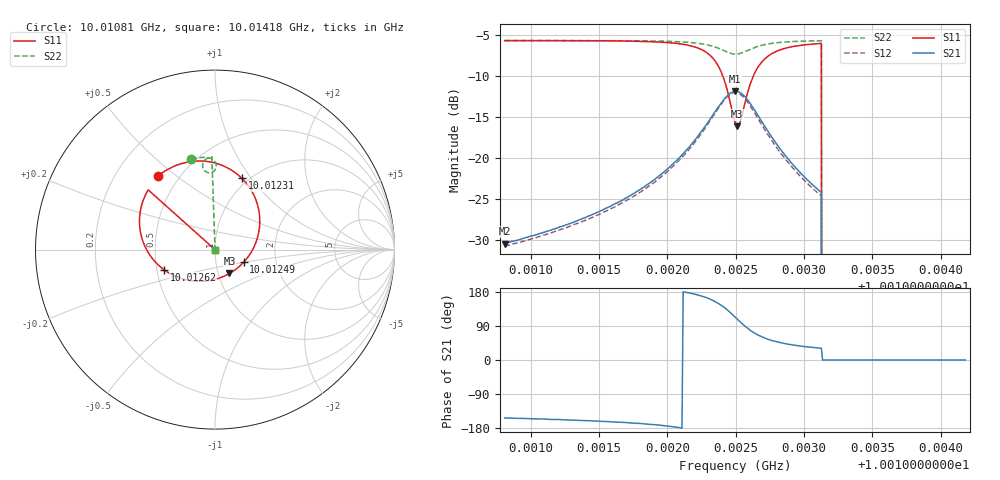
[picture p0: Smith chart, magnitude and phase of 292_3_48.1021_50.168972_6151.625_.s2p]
#  HZ  S  RI  R  50.00
! Rohde & Schwarz Vector Network Analyzer
! Rohde-Schwarz,ZNB20-2Port,1311601062101988,3.16
! Created: UTC 12/23/2023, 4:03:52 AM
! freq[Hz]  re:S11  im:S11  re:S21  im:S21  re:S12  im:S12  re:S22  im:S22
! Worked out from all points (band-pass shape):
!   401 points, 10.01081 GHz to 10.01418 GHz, reference 50 ohm
!   highest |S21| = -11.88 dB at 10.01249 GHz (marker M1); lowest = -30.4 dB at 10.01081 GHz (marker M2)
!   |S21| within 3 dB of the highest: 10.01233 GHz to 10.01266 GHz (336.6 kHz wide, 0.00336 % of centre)
!   lowest |S11| = -16.2 dB at 10.01251 GHz (marker M3), VSWR 1.37, Z = 56.5 - j15.4 ohm
!   |S11| at or under -10 dB: 10.01241 GHz to 10.01263 GHz (224.3 kHz wide, 0.00224 % of centre); 10.01313 GHz to end of sweep
!   |S22| runs from - to -5.7 dB; largest |S21 - S12| = 0.012
!   S11 on the Smith chart (normalised r, x): 10.01081 GHz: 0.38, +0.43; 10.01231 GHz: 0.93, +0.90; 10.01249 GHz: 1.36, -0.20; 10.01262 GHz: 0.55, -0.14; 10.01418 GHz: 1.00, +0.00
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1.0010809e10  -0.3157 0.4117  -0.0268 -0.0137  -0.0249 -0.0148  -0.1311 0.5029
1.0011373e10  -0.2576 0.4499  -0.0398 -0.0147  -0.0374 -0.0164  -0.0917 0.5115
1.0011677e10  -0.2072 0.4728  -0.0536 -0.0147  -0.051 -0.0169  -0.0681 0.514
1.0011938e10  -0.133 0.4911  -0.0768 -0.0111  -0.0733 -0.0149  -0.0439 0.5134
1.0012174e10  0.00385 0.4816  -0.1203 0.0084  -0.1169 0.00161  -0.0157 0.5045
1.0012309e10  0.1498 0.3968  -0.1616 0.0551  -0.1607 0.0449  0.00284 0.4847
1.0012368e10  0.2206 0.2948  -0.1752 0.1004  -0.1775 0.0886  0.00717 0.4677
1.0012419e10  0.2495 0.1542  -0.1709 0.1539  -0.1748 0.1442  0.00273 0.4488
1.0012486e10  0.1594 -0.0709  -0.1128 0.2273  -0.1191 0.2196  -0.0221 0.4291
1.0012495e10  0.1354 -0.0942  -0.1016 0.2334  -0.1079 0.2259  -0.0261 0.4286
1.0012511e10  0.0807 -0.1331  -0.0775 0.2421  -0.0833 0.2352  -0.0349 0.4284
1.0012537e10  -0.0146 -0.1697  -0.0398 0.2456  -0.0449 0.239  -0.0473 0.4318
1.0012562e10  -0.1099 -0.1764  -0.00388 0.2387  -0.0101 0.232  -0.0574 0.4389
1.0012621e10  -0.2838 -0.1126  0.0548 0.1981  0.0472 0.1927  -0.0686 0.46
1.001268e10  -0.375 -0.0113  0.0781 0.1531  0.0702 0.1489  -0.0678 0.4786
1.0012756e10  -0.416 0.1006  0.0839 0.1087  0.0757 0.1062  -0.0597 0.4946
1.0012882e10  -0.4146 0.2226  0.0739 0.0656  0.0676 0.0654  -0.0437 0.5083
1.0013059e10  -0.3843 0.3113  0.0576 0.038  0.0532 0.0384  -0.0241 0.5164
1.001311e10  -0.3751 0.3276  0.0538 0.0333  0.0498 0.034  -0.0191 0.5175
1.0013152e10  0 0  0 0  0 0  0 0
1.0013624e10  0 0  0 0  0 0  0 0
1.0014181e10  0 0  0 0  0 0  0 0
